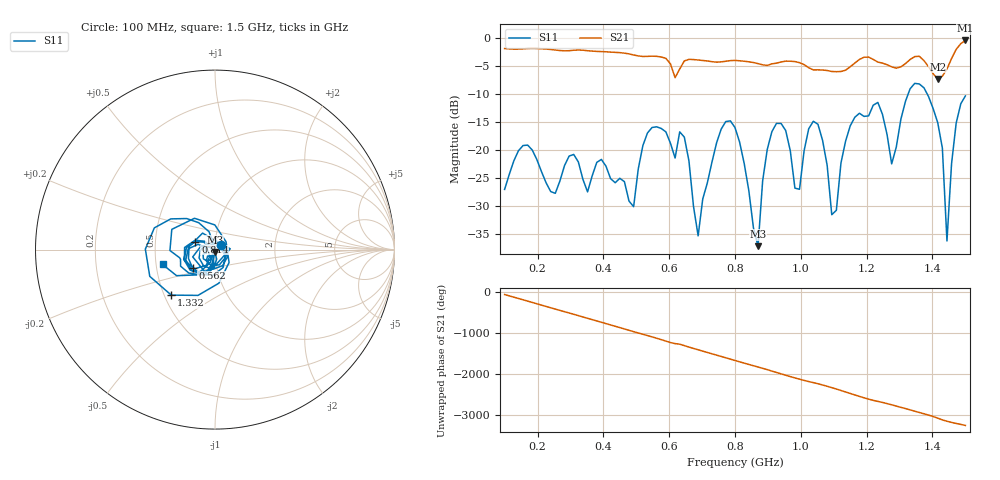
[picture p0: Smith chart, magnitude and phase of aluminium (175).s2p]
! NanoVNA-App
! Date: 2025-09-25 14:56:38
! Start: 100MHz Stop: 1,5GHz Points: 101
! S-Parameter data: F S11 S21 S12 S22
# Hz S RI R 50
!  Frequency  S11_Real  S11_Imag  S21_Real  S21_Imag  S12_Real  S12_Imag  S22_Real  S22_Imag
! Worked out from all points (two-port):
!   101 points, 100 MHz to 1.5 GHz, reference 50 ohm
!   highest |S21| = -0.47 dB at 1.5 GHz (marker M1); lowest = -7.3 dB at 1.416 GHz (marker M2)
!   |S21| within 3 dB of the highest: start of sweep to 579.4 MHz; 1.46 GHz to end of sweep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
!   lowest |S11| = -37.1 dB at 870 MHz (marker M3), VSWR 1.03, Z = 49.9 - j1.39 ohm
!   |S11| at or under -10 dB: start of sweep to 1.326 GHz; 1.384 GHz to end of sweep
!   S12 and S22 are empty: the file has one direction only
!   S11 on the Smith chart (normalised r, x): 100 MHz: 1.07, +0.06; 562 MHz: 0.76, -0.16; 814 MHz: 0.80, +0.07; 1.332 GHz: 0.54, -0.31; 1.5 GHz: 0.54, -0.10
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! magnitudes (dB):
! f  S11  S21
! 100 MHz  -27.0  -1.9
! 156 MHz  -19.2  -2.0
! 338 MHz  -25.2  -2.2
! 492 MHz  -30.1  -3.1
! 562 MHz  -15.8  -3.3
! 576 MHz  -16.1  -3.4
! 646 MHz  -17.7  -4.1
! 688 MHz  -35.3  -4.0
! 800 MHz  -16.0  -4.0
! 814 MHz  -18.6  -4.1
! 870 MHz  -37.1  -4.6
! 912 MHz  -16.7  -4.6
! 996 MHz  -27.0  -4.4
! 1.038 GHz  -14.9  -5.7
! 1.094 GHz  -31.5  -6.0
! 1.178 GHz  -13.4  -3.9
! 1.276 GHz  -22.4  -5.2
! 1.332 GHz  -9.1  -3.9
! 1.416 GHz  -15.1  -7.3
! 1.444 GHz  -36.2  -5.6
! 1.472 GHz  -15.2  -2.1
! 1.5 GHz  -10.4  -0.5
